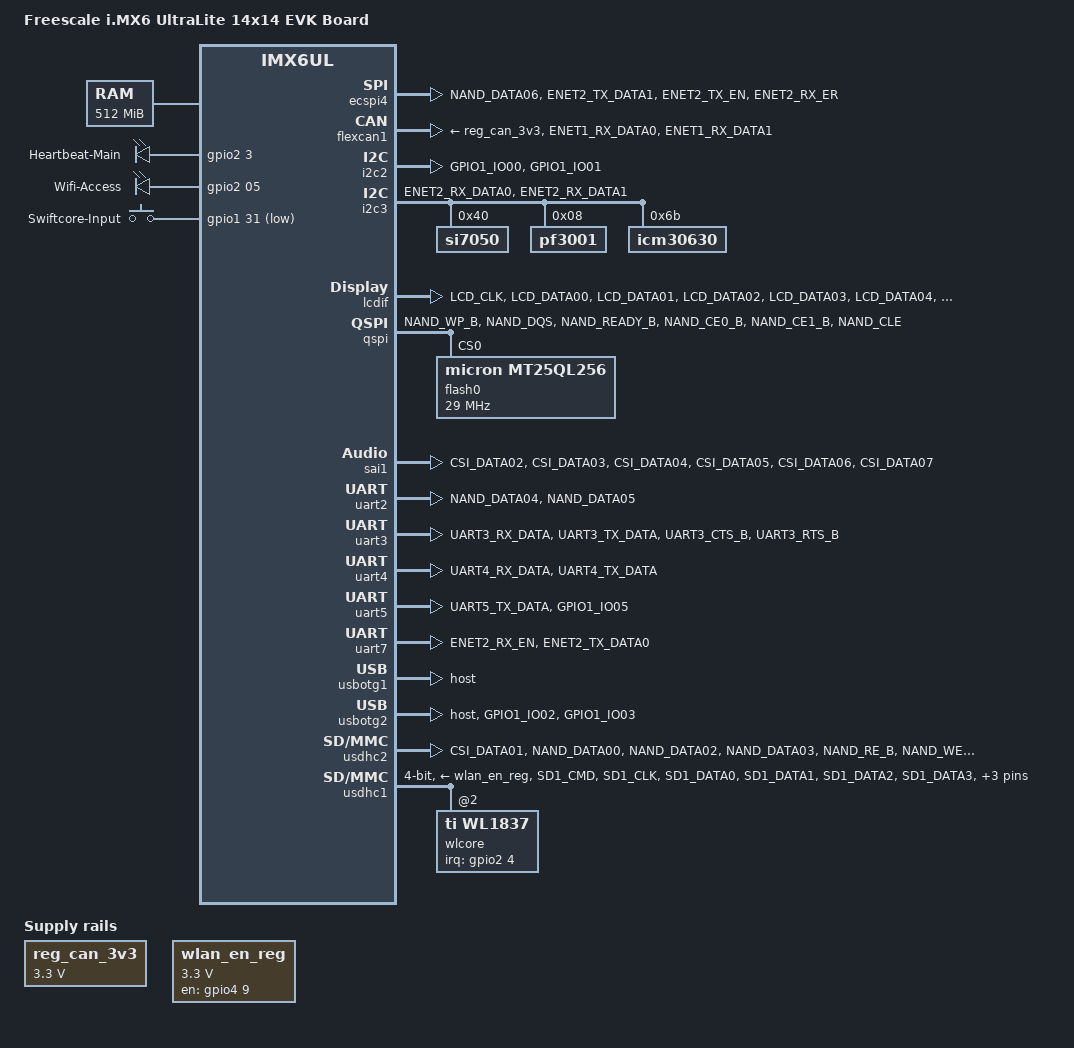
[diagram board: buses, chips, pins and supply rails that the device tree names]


/dts-v1/;

#include <dt-bindings/input/input.h>
#include <dt-bindings/gpio/gpio.h>
#include "imx6ul.dtsi"

/ {
  model = "Freescale i.MX6 UltraLite 14x14 EVK Board";
  compatible = "fsl,imx6ul-14x14-evk", "fsl,imx6ul";

  memory {
      reg = <0x80000000 0x20000000>;
  };

  reserved-memory {
    #address-cells = <1>;
    #size-cells = <1>;
    ranges;

    linux,cma {
      compatible = "shared-dma-pool";
      reusable;
      size = <0x14000000>;
      linux,cma-default;
    };
  };

  /* LED Configuration */
  leds {
    compatible = "gpio-leds";
    pinctrl-names = "default";
    pinctrl-0 = <&pinctrl_led>;

    user_led {
      label = "Heartbeat-Main";
      gpios = <&gpio2 3 0>;
      linux,default-trigger = "heartbeat";
    };

    wifi_led {
      label = "Wifi-Access";
      gpios = <&gpio2 05 0>;
      linux,default-trigger = "mmc0";
    };          
  };

  /* Input button configuration */
  gpio_keys {
    compatible = "gpio-keys";
    pinctrl-names = "default";
    pinctrl-0 = <&pinctrl_gpiokeys>;
    #address-cells = <1>;
    #size-cells = <0>;
    autorepeat;

    swiftcore-btn {
      label = "Swiftcore-Input";
      linux,code = <28>;
      gpios = <&gpio1 31 GPIO_ACTIVE_LOW>;
    };
  };

  /* Reset Line Configuration */
  gpio_resets {
    compatible = "linux,gpio-reset";
    pinctrl-names = "default";
    pinctrl-0 = <&pinctrl_gpioreset>;
    #address-cells = <1>;
    #size-cells = <0>;
    asserted-state = <0>;
    duration-ms = <100>;
    auto;    

    /* GPS RESET_N */
    gnss {
      label = "GPS-Reset";
      gpios = <&gpio1 4 0>;
    };

    /* Cellular RESET_N */
    cell_reset {
      label = "Cell-Reset";
      gpios = <&gpio1 16 0>;
    };

    /* Sub 1 GHz RESET_N */
    sub1ghz {
      label = "Sub1-Reset";
      gpios = <&gpio4 3 0>;
    };

    /* Lora RESET_N */
    lora {
      label = "Lora-Reset";
      gpios = <&gpio5 1 0>;
    };

    /* Accelerometer RESET_N */
    accel {
      label = "Accel-Reset";
      gpios = <&gpio5 4 0>;
    };

    /* Camera RESET_N */
    camera {
      label = "Camera-Reset";
      gpios = <&gpio5 6 0>;
    };

    /* Display RESET_N */
    display {
      label = "Display-Reset";
      gpios = <&gpio5 8 0>;
    };

    /* USB Debug RESET_N */
    usbdebug {
      label = "USB-Reset";
      gpios = <&gpio5 9 0>;
    };

    /* Expander RESET_N */
    external {
      label = "Exp-Reset";
      gpios = <&gpio5 2 0>;
    };
  };


  regulators {
    compatible = "simple-bus";
    #address-cells = <1>;
    #size-cells = <0>;

    reg_can_3v3:
    regulator@0 {
      compatible = "regulator-fixed";
      reg = <0>;
      regulator-name = "can-3v3";
      regulator-min-microvolt = <3300000>;
      regulator-max-microvolt = <3300000>;
    };
  
    wlan_en_reg: 
    regulator@2 {
      compatible = "regulator-fixed";
      regulator-name = "wlan-en-regulator";
      regulator-min-microvolt = <3300000>;
      regulator-max-microvolt = <3300000>;
      startup-delay-us = <70000>;
      gpio = <&gpio4 9 GPIO_ACTIVE_HIGH>;
      enable-active-high;
    };
  };

  kim {
    compatible = "kim";
    nshutdown_gpio = <106>;
    dev_name = "/dev/ttymxc2";
    flow_cntrl = <1>;
    baud_rate = <3000000>;
  };

  btwilink {
    compatible = "btwilink";
  };
};

/* SPI4 */
&ecspi4 {
  pinctrl-names = "default";
  pinctrl-0 = <&pinctrl_ecspi4>;
  status = "okay";
};

/*FLEXCAN1*/
&flexcan1 {
  pinctrl-names = "default";
  pinctrl-0 = <&pinctrl_flexcan1>;
  xceiver-supply = <&reg_can_3v3>;
  status = "okay";
};

&cpu0 {
  arm-supply = <&reg_arm>;
  soc-supply = <&reg_soc>;
};

&clks {
  assigned-clocks = <&clks IMX6UL_CLK_PLL4_AUDIO_DIV>;
  assigned-clock-rates = <786432000>;
};

&gpc {
  fsl,cpu_pupscr_sw2iso = <0x1>;
  fsl,cpu_pupscr_sw = <0x0>;
  fsl,cpu_pdnscr_iso2sw = <0x1>;
  fsl,cpu_pdnscr_iso = <0x1>;
  fsl,ldo-bypass = <0>; /* DCDC, ldo-enable */
};

/*External I2C Bus on I2C2*/
&i2c2 {
  clock_frequency = <100000>;
  pinctrl-names = "default";
  pinctrl-0 = <&pinctrl_i2c2>;
  status = "okay";
};

/*Internal I2C Bus on I2C3*/
&i2c3 {
    clock_frequency = <100000>;
    pinctrl-names = "default";
    pinctrl-0 = <&pinctrl_i2c3>;
    status = "okay";

    si7050@40 {
      compatible = "si7050";
      reg = <0x40>;
    status = "okay";
    };

    pf3001@08 {
      compatible = "pf3001";
      reg = <0x08>;
    status = "okay";
    };

    icm30630@6b {
      compatible = "icm30630";
      reg = <0x6b>;
    status = "okay";
    };
};

/* HDMI on LCDIF */
&lcdif {
  pinctrl-names = "default";
  pinctrl-0 = <&pinctrl_lcdif_dat>;
  display = <&display0>;
  status = "okay";

  display0:
    display {
      bits-per-pixel = <16>;
      bus-width = <24>;
      display-timings {
        native-mode = <&timing0>;
        timing0:
        timing0 {
          clock-frequency = <9200000>;
          hactive = <480>;
          vactive = <272>;
          hfront-porch = <8>;
          hback-porch = <4>;
          hsync-len = <41>;
          vback-porch = <2>;
          vfront-porch = <4>;
          vsync-len = <10>;

          hsync-active = <0>;
          vsync-active = <0>;
          de-active = <1>;
          pixelclk-active = <0>;
        };
      };
    };
};

/*micron flash on QSPI1*/
&qspi {
  pinctrl-names = "default";
  pinctrl-0 = <&pinctrl_qspi>;
  status = "okay";
  ddrsmp=<0>;

  flash0:
  mt25ql256@0 {
    #address-cells = <1>;
    #size-cells = <1>;
    compatible = "micron,mt25ql256";
    spi-max-frequency = <29000000>;
    spi-nor,ddr-quad-read-dummy = <6>;
    reg = <0>;
  };
};

/*Digital Audio on SAI1*/
&sai1 {
  pinctrl-names = "default";
  pinctrl-0 = <&pinctrl_sai1>;
  assigned-clocks = <&clks IMX6UL_CLK_SAI1_SEL>,
  <&clks IMX6UL_CLK_SAI1>;
  assigned-clock-parents = <&clks IMX6UL_CLK_PLL4_AUDIO_DIV>;
  assigned-clock-rates = <0>, <12288000>;
  status = "okay";
};

/*USB Debug on UART2*/
&uart2 {
  pinctrl-names = "default";
  pinctrl-0 = <&pinctrl_uart2>;
  status = "okay";
};

/*BTWilink on UART3*/
&uart3 {
  pinctrl-names = "default";
  pinctrl-0 = <&pinctrl_uart3>;
  fsl,uart-has-rtscts; 
  status = "okay";
};

/*LORA on UART4*/
&uart4 {
  pinctrl-names = "default";
  pinctrl-0 = <&pinctrl_uart4>;
  status = "okay";
};

/*Sub-1GHZ on UART5*/
&uart5 {
  pinctrl-names = "default";
  pinctrl-0 = <&pinctrl_uart5>;
  status = "okay";
};

/*GNSS on UART7*/
&uart7 {
  pinctrl-names = "default";
  pinctrl-0 = <&pinctrl_uart7>;
  status = "okay";
};

/*Cellular on USBOTG1*/
&usbotg1 {
  dr_mode = "host";
  status = "okay";
};

/*USB port on USBOTG2*/
&usbotg2 {
  dr_mode = "host";
  disable-over-current;
  pinctrl-0 = <&pinctrl_usbotg2>;
  status = "okay";
};

/*sdcard on mmc1*/
&usdhc2 {
  status = "okay";
  pinctrl-names = "default";
  pinctrl-0 = <&pinctrl_usdhc2>;
};  

/*wilink module on mmc0*/
&usdhc1 {
  status = "okay";
  vmmc-supply = <&wlan_en_reg>;
  bus-width = <4>;
  pinctrl-names = "default", "sleep";
  pinctrl-0 = <&usdhc1_pins_default &wlan_pins_default>;
  pinctrl-1 = <&usdhc1_pins_sleep &wlan_pins_sleep>;
  ti,non-removable;
  ti,needs-special-hs-handling;
  cap-power-off-card;
  keep-power-in-suspend;

  #address-cells = <1>;
  #size-cells = <0>;
  wlcore: wlcore@0 {
    compatible = "ti,wl1837";
    reg = <2>;
    interrupt-parent = <&gpio2>;
    interrupts = <4 0x1>; 
  };
};
  
&iomuxc {
  pinctrl-names = "default";
  imx6ul-evk {

    /* SDcard on USDHC2 */
    pinctrl_usdhc2: 
    usdhc2grp {
      fsl,pins = <
        MX6UL_PAD_CSI_DATA01__USDHC2_DATA1         0x000010B0
        MX6UL_PAD_NAND_DATA00__USDHC2_DATA0        0x000010B0
        MX6UL_PAD_NAND_DATA02__USDHC2_DATA2        0x000010B0
        MX6UL_PAD_NAND_DATA03__USDHC2_DATA3        0x000010B0
        MX6UL_PAD_NAND_RE_B__USDHC2_CLK            0x000010B0
        MX6UL_PAD_NAND_WE_B__USDHC2_CMD            0x000010B0
      >;
    };

    /* wilink mmc0 pins, normal mode */
    usdhc1_pins_default: 
    pinmux_usdhc1_pins_default {
      fsl,pins = <
        MX6UL_PAD_SD1_CMD__USDHC1_CMD            0x00009030
        MX6UL_PAD_SD1_CLK__USDHC1_CLK            0x00009030
        MX6UL_PAD_SD1_DATA0__USDHC1_DATA0        0x00009030
        MX6UL_PAD_SD1_DATA1__USDHC1_DATA1        0x00009030
        MX6UL_PAD_SD1_DATA2__USDHC1_DATA2        0x00009030
        MX6UL_PAD_SD1_DATA3__USDHC1_DATA3        0x00009030
      >;
    };

    /* wilink mmc0 pins, sleep mode */
    usdhc1_pins_sleep: 
    pinmux_usdhc1_pins_sleep {
      fsl,pins = <
        MX6UL_PAD_SD1_CMD__USDHC1_CMD            0x00001030
        MX6UL_PAD_SD1_CLK__USDHC1_CLK            0x00001030
        MX6UL_PAD_SD1_DATA0__USDHC1_DATA0        0x00001030
        MX6UL_PAD_SD1_DATA1__USDHC1_DATA1        0x00001030
        MX6UL_PAD_SD1_DATA2__USDHC1_DATA2        0x00001030
        MX6UL_PAD_SD1_DATA3__USDHC1_DATA3        0x00001030
      >;
    };
    
    /* wilink en and irq pins, normal mode */
    wlan_pins_default: 
    pinmux_wlan_pins_default {
      fsl,pins = <
        MX6UL_PAD_ENET1_TX_DATA1__GPIO2_IO04     0x00001030   /* wlan_iqr */
        MX6UL_PAD_NAND_DATA07__GPIO4_IO09        0x00001030   /* wlan_en*/
      MX6UL_PAD_NAND_ALE__GPIO4_IO10             0x00001030   /* bt_en*/
        >;
    };

    /* wilink en and irq pins, sleep mode */
    wlan_pins_sleep: 
    pinmux_wlan_pins_sleep {
      fsl,pins = <
        MX6UL_PAD_ENET1_TX_DATA1__GPIO2_IO04     0x00001030   /* wlan_iqr */
        MX6UL_PAD_NAND_DATA07__GPIO4_IO09        0x00001030   /* wlan_en*/
        MX6UL_PAD_NAND_ALE__GPIO4_IO10           0x00001030   /* bt_en*/
        >;
    };

    /* LED Group */
    pinctrl_led: 
    ledgrp {
      fsl,pins = <
        MX6UL_PAD_ENET1_TX_DATA0__GPIO2_IO03     0x000010B0   /* LED D301 */
        MX6UL_PAD_ENET1_TX_EN__GPIO2_IO05        0x000010B0   /* LED D302 */
      >;
    };

    /* User Button Group */
    pinctrl_gpiokeys:
    gpiokeygrp {
      fsl,pins = <
        MX6UL_PAD_UART5_RX_DATA__GPIO1_IO31      0x000010B0   /* USER Push Button */
      >;
    };
    
    /* Reset Line Group */
    pinctrl_gpioreset:
    gpiorstgrp {
      fsl,pins = <
        MX6UL_PAD_GPIO1_IO04__GPIO1_IO04         0x000010B0   /* GNSS RESET_N */
        MX6UL_PAD_UART1_TX_DATA__GPIO1_IO16      0x000010B0   /* Cellular RESET_N */
        MX6UL_PAD_NAND_DATA01__GPIO4_IO03        0x000010B0   /* Sub 1GHz RESET_N */
        MX6UL_PAD_SNVS_TAMPER1__GPIO5_IO01       0x000010B0   /* GNSS RESET_N */
        MX6UL_PAD_SNVS_TAMPER4__GPIO5_IO04       0x000010B0   /* Accelerometer RESET_N */
        MX6UL_PAD_SNVS_TAMPER6__GPIO5_IO06       0x000010B0   /* Camera RESET_N */
        MX6UL_PAD_SNVS_TAMPER8__GPIO5_IO08       0x000010B0   /* Display RESET_N */
        MX6UL_PAD_SNVS_TAMPER9__GPIO5_IO09       0x000010B0   /* USB Debug RESET_N */
        MX6UL_PAD_SNVS_TAMPER2__GPIO5_IO02       0x000010B0   /* GPIO Expander */
      >;
    };

    /* parallel camera 1 pins */
    pinctrl_csi1:
    csi1grp {
      fsl,pins = <
        MX6UL_PAD_CSI_DATA00__CSI_DATA02         0x000010B0
        MX6UL_PAD_CSI_HSYNC__CSI_HSYNC           0x000010B0
        MX6UL_PAD_CSI_MCLK__CSI_MCLK             0x000010B0
        MX6UL_PAD_CSI_PIXCLK__CSI_PIXCLK         0x000010B0
        MX6UL_PAD_CSI_VSYNC__CSI_VSYNC           0x000010B0
        MX6UL_PAD_UART1_CTS_B__CSI_DATA04        0x000010B0
        MX6UL_PAD_UART1_RTS_B__CSI_DATA05        0x000010B0
        MX6UL_PAD_UART1_RX_DATA__CSI_DATA03      0x000010B0
        MX6UL_PAD_UART2_CTS_B__CSI_DATA08        0x000010B0
        MX6UL_PAD_UART2_RTS_B__CSI_DATA09        0x000010B0
        MX6UL_PAD_UART2_RX_DATA__CSI_DATA07      0x000010B0
        MX6UL_PAD_UART2_TX_DATA__CSI_DATA06      0x000010B0
      >;
    };

    /* I2C-2 pins */
    pinctrl_i2c2:
    i2c2grp {
      fsl,pins = <
        MX6UL_PAD_GPIO1_IO00__I2C2_SCL           0x4001b8b0
        MX6UL_PAD_GPIO1_IO01__I2C2_SDA           0x4001b8b0
      >;
    };

    /* I2C-3 pins */
    pinctrl_i2c3:
    i2c3grp {
      fsl,pins = <
        MX6UL_PAD_ENET2_RX_DATA0__I2C3_SCL       0x4001b8b0
        MX6UL_PAD_ENET2_RX_DATA1__I2C3_SDA       0x4001b8b0
      >;
    };
    
    /* SPI-4 pins */
    pinctrl_ecspi4:
    ecspi4grp {
      fsl,pins = <
        MX6UL_PAD_NAND_DATA06__ECSPI4_MISO       0x000010B0
        MX6UL_PAD_ENET2_TX_DATA1__ECSPI4_SCLK    0x000010B0
        MX6UL_PAD_ENET2_TX_EN__ECSPI4_MOSI       0x000010B0
        MX6UL_PAD_ENET2_RX_ER__ECSPI4_SS0        0x000010B0
      >;
    };
    
    /* HDMI display pins */
    pinctrl_lcdif_dat:
    lcdifdatgrp {
      fsl,pins = <
        MX6UL_PAD_LCD_CLK__LCDIF_CLK             0x000010B0
        MX6UL_PAD_LCD_DATA00__LCDIF_DATA00       0x000010B0
        MX6UL_PAD_LCD_DATA01__LCDIF_DATA01       0x000010B0
        MX6UL_PAD_LCD_DATA02__LCDIF_DATA02       0x000010B0
        MX6UL_PAD_LCD_DATA03__LCDIF_DATA03       0x000010B0
        MX6UL_PAD_LCD_DATA04__LCDIF_DATA04       0x000010B0
        MX6UL_PAD_LCD_DATA05__LCDIF_DATA05       0x000010B0
        MX6UL_PAD_LCD_DATA06__LCDIF_DATA06       0x000010B0
        MX6UL_PAD_LCD_DATA07__LCDIF_DATA07       0x000010B0
        MX6UL_PAD_LCD_DATA08__LCDIF_DATA08       0x000010B0
        MX6UL_PAD_LCD_DATA09__LCDIF_DATA09       0x000010B0
        MX6UL_PAD_LCD_DATA10__LCDIF_DATA10       0x000010B0
        MX6UL_PAD_LCD_DATA11__LCDIF_DATA11       0x000010B0
        MX6UL_PAD_LCD_DATA12__LCDIF_DATA12       0x000010B0
        MX6UL_PAD_LCD_DATA13__LCDIF_DATA13       0x000010B0
        MX6UL_PAD_LCD_DATA14__LCDIF_DATA14       0x000010B0
        MX6UL_PAD_LCD_DATA15__LCDIF_DATA15       0x000010B0
        MX6UL_PAD_LCD_DATA16__LCDIF_DATA16       0x000010B0
        MX6UL_PAD_LCD_DATA17__LCDIF_DATA17       0x000010B0
        MX6UL_PAD_LCD_DATA18__LCDIF_DATA18       0x000010B0
        MX6UL_PAD_LCD_DATA19__LCDIF_DATA19       0x000010B0
        MX6UL_PAD_LCD_DATA20__LCDIF_DATA20       0x000010B0
        MX6UL_PAD_LCD_DATA21__LCDIF_DATA21       0x000010B0
        MX6UL_PAD_LCD_DATA22__LCDIF_DATA22       0x000010B0
        MX6UL_PAD_LCD_DATA23__LCDIF_DATA23       0x000010B0
        MX6UL_PAD_LCD_ENABLE__LCDIF_ENABLE       0x000010B0
        MX6UL_PAD_LCD_HSYNC__LCDIF_HSYNC         0x000010B0
        MX6UL_PAD_LCD_RESET__LCDIF_RESET         0x000010B0
        MX6UL_PAD_LCD_VSYNC__LCDIF_VSYNC         0x000010B0
      >;
    };
    
    /* nand flash QSPI pins */
    pinctrl_qspi:
    qspigrp {
      fsl,pins = <
        MX6UL_PAD_NAND_WP_B__QSPI_A_SCLK         0x000010B0
        MX6UL_PAD_NAND_DQS__QSPI_A_SS0_B         0x000010B0
        MX6UL_PAD_NAND_READY_B__QSPI_A_DATA00    0x000010B0
        MX6UL_PAD_NAND_CE0_B__QSPI_A_DATA01      0x000010B0
        MX6UL_PAD_NAND_CE1_B__QSPI_A_DATA02      0x000010B0
        MX6UL_PAD_NAND_CLE__QSPI_A_DATA03        0x000010B0
      >;
    };

    /* UART-2 (USB Debug) pins */
    pinctrl_uart2:
    uart2grp {
      fsl,pins = <
        MX6UL_PAD_NAND_DATA04__UART2_DCE_TX       0x000010B0
        MX6UL_PAD_NAND_DATA05__UART2_DCE_RX       0x000010B0
      >;
    };

    /* wilink BT UART3 pins */
    pinctrl_uart3:
    uart3grp {
      fsl,pins = <
        MX6UL_PAD_UART3_RX_DATA__UART3_DCE_RX    0x000010B0
        MX6UL_PAD_UART3_TX_DATA__UART3_DCE_TX    0x000010B0
        MX6UL_PAD_UART3_CTS_B__UART3_DCE_CTS     0x000010B0
        MX6UL_PAD_UART3_RTS_B__UART3_DCE_RTS     0x000010B0
      >;
    };

    /* LORA UART4 pins */
    pinctrl_uart4:
    uart4grp {
      fsl,pins = <
        MX6UL_PAD_UART4_RX_DATA__UART4_DCE_RX    0x000010B0
        MX6UL_PAD_UART4_TX_DATA__UART4_DCE_TX    0x000010B0
      >;
    };

    /* Sub-1GHz UART5 pins */
    pinctrl_uart5:
    uart5grp {
      fsl,pins = <
        MX6UL_PAD_UART5_TX_DATA__UART5_DCE_TX    0x000010B0
        MX6UL_PAD_GPIO1_IO05__UART5_DCE_RX       0x000010B0
      >;
    };

    /* GNSS UART7 pins */
    pinctrl_uart7:
    uart7grp {
      fsl,pins = <
        MX6UL_PAD_ENET2_RX_EN__UART7_DCE_TX      0x000010B0
        MX6UL_PAD_ENET2_TX_DATA0__UART7_DCE_RX   0x000010B0
      >;
    };

    /* CELL UART8 pins */
    pinctrl_uart8:
    uart8grp {
      fsl,pins = <
        MX6UL_PAD_ENET2_TX_DATA1__UART8_DCE_TX   0x000010B0
        MX6UL_PAD_ENET2_TX_EN__UART8_DCE_RX      0x000010B0
      >;
    };

    /* JTAG pins */
    pinctrl_jtag:
      jtaggrp {
        fsl,pins = <
         MX6UL_PAD_JTAG_MOD__SJC_MOD             0x0000B0A0
         MX6UL_PAD_JTAG_TCK__SJC_TCK             0x000070A0
         MX6UL_PAD_JTAG_TDI__SJC_TDI             0x000070A0
         MX6UL_PAD_JTAG_TDO__SJC_TDO             0x0000B0B1
         MX6UL_PAD_JTAG_TMS__SJC_TMS             0x000070A0
         MX6UL_PAD_JTAG_TRST_B__SJC_TRSTB        0x000070A0
        >;
    };

    /* SPDIF pins */
    pinctrl_spdif:
      spdifgrp {
        fsl,pins = <
          MX6UL_PAD_GPIO1_IO08__SPDIF_OUT        0x000010B0
          MX6UL_PAD_GPIO1_IO09__SPDIF_IN         0x000010B0
        >;
    };

    /* FLEXCAN1 pins  1*/
    pinctrl_flexcan1:
      flexcan1grp {
        fsl,pins = <
          MX6UL_PAD_ENET1_RX_DATA0__FLEXCAN1_TX  0x000010B0
          MX6UL_PAD_ENET1_RX_DATA1__FLEXCAN1_RX  0x000010B0
        >;
    };

    /* SAI1 pins */
    pinctrl_sai1:
      sai1grp {
        fsl,pins = <
          MX6UL_PAD_CSI_DATA02__SAI1_RX_SYNC         0x000010B0
          MX6UL_PAD_CSI_DATA03__SAI1_RX_BCLK         0x000010B0
          MX6UL_PAD_CSI_DATA04__SAI1_TX_SYNC         0x000010B0
          MX6UL_PAD_CSI_DATA05__SAI1_TX_BCLK         0x000010B0
          MX6UL_PAD_CSI_DATA06__SAI1_RX_DATA         0x000010B0
          MX6UL_PAD_CSI_DATA07__SAI1_TX_DATA         0x000010B0
        >;
    };
  
    /* USBOTG2 pins */
    pinctrl_usbotg2:
      usbotg2grp {
        fsl,pins = <
          MX6UL_PAD_GPIO1_IO02__USB_OTG2_PWR         0x000010B0
          MX6UL_PAD_GPIO1_IO03__USB_OTG2_OC          0x000010B0
        >;
      };
    };
};  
